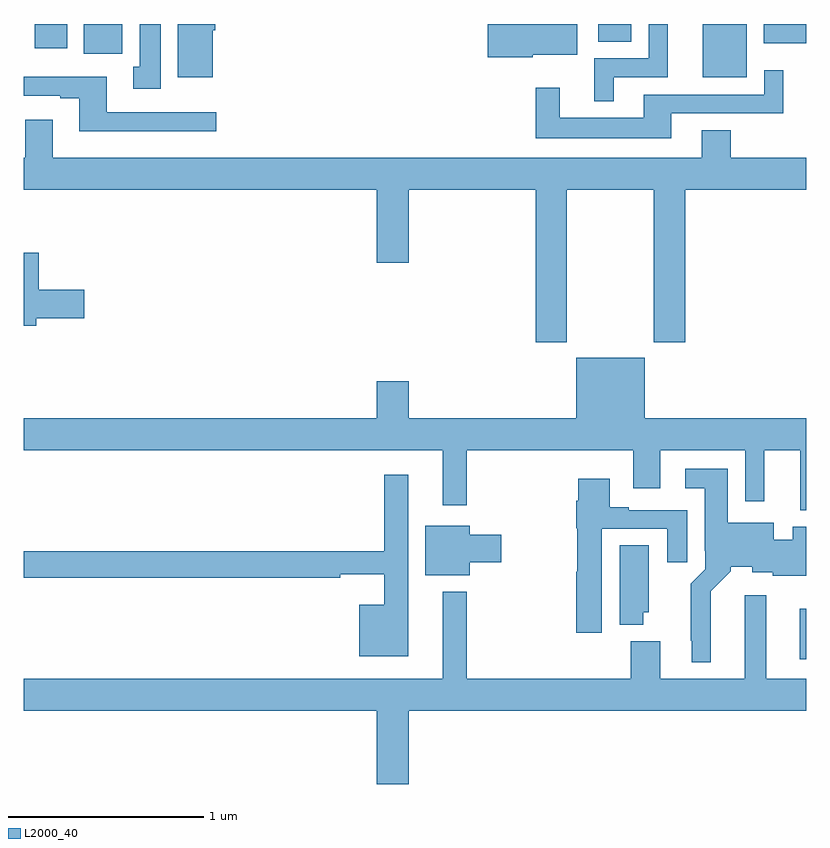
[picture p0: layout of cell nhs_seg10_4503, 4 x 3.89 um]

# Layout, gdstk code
import gdstk
lib = gdstk.Library(unit=1e-6, precision=1e-09)
def R(c, l, rs):  # rectangles x0, y0, x1, y1
    for r in rs: c.add(gdstk.rectangle(r[:2], r[2:], *l))
def P(c, l, *ps):  # polygons
    for p in ps: c.add(gdstk.Polygon(p, *l))
L2000_40 = (2000, 40)

nhs_seg10_4503 = lib.new_cell('nhs_seg10_4503')
R(nhs_seg10_4503, L2000_40, [(370.967,1295.252,371,1295.509), (370.472,1298.228,370.696,1298.5), (367.307,1298.348,367.504,1298.5), (367.055,1298.376,367.222,1298.5), (370.784,1298.402,371,1298.5), (369.938,1298.41,370.105,1298.5)])
P(nhs_seg10_4503, L2000_40, [(367.966,1298.468),(367.979,1298.468),(367.979,1298.5),(367.787,1298.5),(367.787,1298.228),(367.966,1298.228)],
  [(369.603,1298.342),(369.829,1298.342),(369.829,1298.5),(369.372,1298.5),(369.372,1298.33),(369.603,1298.33)],
  [(370.015,1298.229),(370.292,1298.229),(370.292,1298.5),(370.194,1298.5),(370.194,1298.325),(369.917,1298.325),(369.917,1298.105),(370.015,1298.105)],
  [(367.699,1298.5),(367.592,1298.5),(367.592,1298.282),(367.559,1298.282),(367.559,1298.169),(367.699,1298.169)],
  [(370.309,1298.043),(370.883,1298.043),(370.883,1298.263),(370.785,1298.263),(370.785,1298.139),(370.169,1298.139),(370.169,1298.02),(369.739,1298.02),(369.739,1298.173),(369.618,1298.173),(369.618,1297.916),(370.309,1297.916)],
  [(367.984,1298.049),(367.423,1298.049),(367.423,1298.23),(367,1298.23),(367,1298.133),(367.187,1298.133),(367.187,1298.121),(367.283,1298.121),(367.283,1297.952),(367.984,1297.952)],
  [(369.777,1297.652),(370.222,1297.652),(370.222,1296.873),(370.382,1296.873),(370.382,1297.652),(371,1297.652),(371,1297.816),(370.614,1297.816),(370.614,1297.958),(370.466,1297.958),(370.466,1297.816),(367.147,1297.816),(367.147,1298.011),(367.007,1298.011),(367.007,1297.816),(367,1297.816),(367,1297.652),(368.804,1297.652),(368.804,1297.278),(368.968,1297.278),(368.968,1297.652),(369.617,1297.652),(369.617,1296.873),(369.777,1296.873)],
  [(367.063,1296.995),(367.309,1296.995),(367.309,1297.142),(367.076,1297.142),(367.076,1297.33),(367,1297.33),(367,1296.956),(367.063,1296.956)],
  [(371,1296.484),(370.174,1296.484),(370.174,1296.793),(369.824,1296.793),(369.824,1296.484),(368.968,1296.484),(368.968,1296.673),(368.804,1296.673),(368.804,1296.484),(367,1296.484),(367,1296.32),(369.143,1296.32),(369.143,1296.039),(369.265,1296.039),(369.265,1296.32),(370.115,1296.32),(370.115,1296.126),(370.255,1296.126),(370.255,1296.32),(370.689,1296.32),(370.689,1296.06),(370.787,1296.06),(370.787,1296.32),(370.97,1296.32),(370.97,1296.014),(371,1296.014)],
  [(370.513,1295.6),(370.614,1295.702),(370.614,1295.726),(370.724,1295.726),(370.724,1295.696),(370.83,1295.696),(370.83,1295.678),(371,1295.678),(371,1295.929),(370.931,1295.929),(370.931,1295.862),(370.834,1295.862),(370.834,1295.95),(370.6,1295.95),(370.6,1296.226),(370.383,1296.226),(370.383,1296.125),(370.481,1296.125),(370.481,1295.806),(370.485,1295.806),(370.485,1295.712),(370.411,1295.638),(370.411,1295.347),(370.415,1295.347),(370.415,1295.237),(370.513,1295.237)],
  [(368.965,1296.196),(368.844,1296.196),(368.844,1295.804),(367,1295.804),(367,1295.668),(368.618,1295.668),(368.618,1295.687),(368.844,1295.687),(368.844,1295.53),(368.714,1295.53),(368.714,1295.267),(368.965,1295.267)],
  [(369.955,1295.919),(370.289,1295.919),(370.289,1295.748),(370.393,1295.748),(370.393,1296.015),(370.093,1296.015),(370.093,1296.028),(369.997,1296.028),(369.997,1296.175),(369.836,1296.175),(369.836,1296.062),(369.824,1296.062),(369.824,1295.922),(369.829,1295.922),(369.829,1295.7),(369.824,1295.7),(369.824,1295.388),(369.955,1295.388)],
  [(369.28,1295.747),(369.442,1295.747),(369.442,1295.889),(369.28,1295.889),(369.28,1295.935),(369.053,1295.935),(369.053,1295.681),(369.28,1295.681)],
  [(370.168,1295.493),(370.195,1295.493),(370.195,1295.834),(370.046,1295.834),(370.046,1295.429),(370.168,1295.429)],
  [(368.968,1294.988),(371,1294.988),(371,1295.152),(370.795,1295.152),(370.795,1295.578),(370.685,1295.578),(370.685,1295.152),(370.255,1295.152),(370.255,1295.344),(370.103,1295.344),(370.103,1295.152),(369.265,1295.152),(369.265,1295.596),(369.143,1295.596),(369.143,1295.152),(367,1295.152),(367,1294.988),(368.804,1294.988),(368.804,1294.614),(368.968,1294.614)])

lib.write_gds('nhs_seg10_4503.gds')
